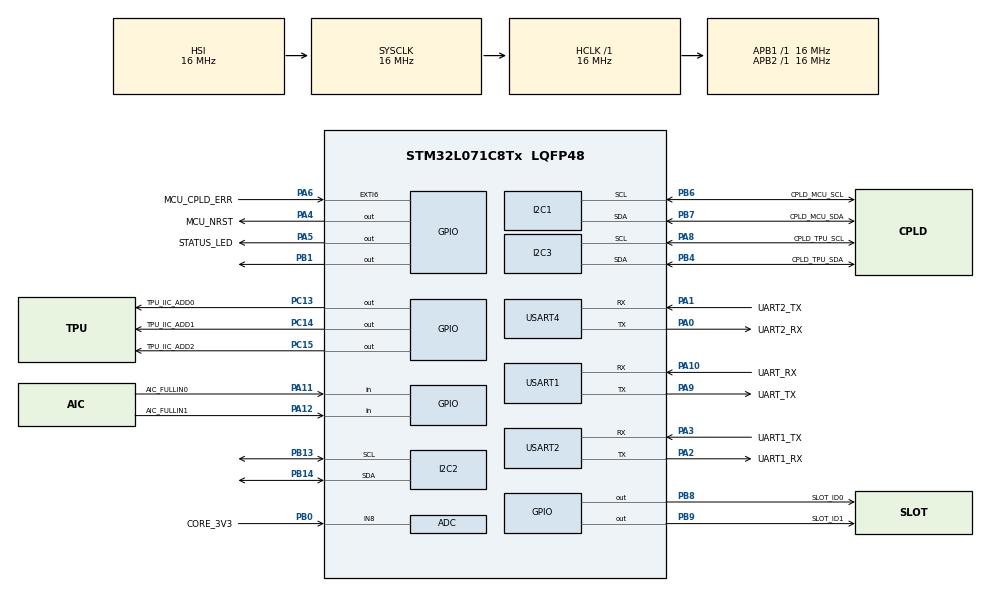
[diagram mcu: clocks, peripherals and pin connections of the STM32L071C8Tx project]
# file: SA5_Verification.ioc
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ADC.ContinuousConvMode=ENABLE
ADC.EOCSelection=ADC_EOC_SEQ_CONV
FREERTOS.BinarySemaphores01=uartTxSem,Dynamic,NULL
FREERTOS.Tasks01=ShellThread,0,128,runShell,Default,NULL,Dynamic,NULL,NULL;ExecThread,-3,128,runExec,Default,NULL,Dynamic,NULL,NULL
FREERTOS.Timers01=ledCtrlTimer,ledCtrlCallback,osTimerPeriodic,Default,NULL,Dynamic,NULL;timeoutTimer,timeoutCallback,osTimerOnce,Default,NULL,Dynamic,NULL
FREERTOS.configTOTAL_HEAP_SIZE=5120
FREERTOS.configUSE_TIMERS=1
I2C1.Speed=50
I2C1.Timing=0x00303DFB
I2C2.OwnAddress=0x34
I2C2.Timing=0x00303D5B
I2C3.OwnAddress=0
I2C3.Timing=0x00303D5B
Mcu.Family=STM32L0
Mcu.Name=STM32L071C8Tx
Mcu.Package=LQFP48
NVIC.ADC1_COMP_IRQn=true\:3\:0\:false\:false\:true\:true\:true\:true
NVIC.EXTI4_15_IRQn=true\:3\:0\:false\:false\:true\:true\:true\:true
NVIC.I2C1_IRQn=true\:3\:0\:false\:false\:true\:true\:true\:true
NVIC.I2C2_IRQn=true\:3\:0\:false\:false\:true\:true\:true\:true
NVIC.I2C3_IRQn=true\:3\:0\:false\:false\:true\:true\:true\:true
NVIC.TIM6_IRQn=true\:0\:0\:false\:false\:true\:false\:false\:true
NVIC.TimeBase=TIM6_IRQn
NVIC.TimeBaseIP=TIM6
NVIC.USART1_IRQn=true\:3\:0\:false\:false\:true\:true\:true\:true
NVIC.USART2_IRQn=true\:3\:0\:false\:false\:true\:true\:true\:true
NVIC.USART4_5_IRQn=true\:3\:0\:false\:false\:true\:true\:true\:true
PA0.GPIO_Label=UART2_RX
PA0.Mode=Asynchronous
PA0.Signal=USART4_TX
PA1.GPIO_Label=UART2_TX
PA1.Mode=Asynchronous
PA1.Signal=USART4_RX
PA10.GPIO_Label=UART_RX
PA10.Mode=Asynchronous
PA10.Signal=USART1_RX
PA11.GPIO_Label=AIC_FULLIN0
PA11.GPIO_PuPd=GPIO_PULLUP
PA11.Signal=GPIO_Input
PA12.GPIO_Label=AIC_FULLIN1
PA12.GPIO_PuPd=GPIO_PULLUP
PA12.Signal=GPIO_Input
PA13.Mode=Serial_Wire
PA13.Signal=SYS_SWDIO
PA14.Mode=Serial_Wire
PA14.Signal=SYS_SWCLK
PA2.GPIO_Label=UART1_RX
PA2.Mode=Asynchronous
PA2.Signal=USART2_TX
PA3.GPIO_Label=UART1_TX
PA3.Mode=Asynchronous
PA3.Signal=USART2_RX
PA4.GPIO_Label=MCU_NRST
PA4.PinState=GPIO_PIN_SET
PA4.Signal=GPIO_Output
PA5.GPIO_Label=STATUS_LED
PA5.Signal=GPIO_Output
PA6.GPIO_Label=MCU_CPLD_ERR
PA6.Signal=GPXTI6
PA8.GPIO_Label=CPLD_TPU_SCL
PA8.Mode=I2C
PA8.Signal=I2C3_SCL
PA9.GPIO_Label=UART_TX
PA9.Mode=Asynchronous
PA9.Signal=USART1_TX
PB0.GPIO_Label=CORE_3V3
PB0.Mode=IN8
PB0.Signal=ADC_IN8
PB1.PinState=GPIO_PIN_SET
PB1.Signal=GPIO_Output
PB13.Mode=I2C
PB13.Signal=I2C2_SCL
PB14.Mode=I2C
PB14.Signal=I2C2_SDA
PB4.GPIO_Label=CPLD_TPU_SDA
PB4.Mode=I2C
PB4.Signal=I2C3_SDA
PB6.GPIO_Label=CPLD_MCU_SCL
PB6.Mode=I2C
PB6.Signal=I2C1_SCL
PB7.GPIO_Label=CPLD_MCU_SDA
PB7.Mode=I2C
PB7.Signal=I2C1_SDA
PB8.GPIO_Label=SLOT_ID0
PB8.PinState=GPIO_PIN_SET
PB8.Signal=GPIO_Output
PB9.GPIO_Label=SLOT_ID1
PB9.PinState=GPIO_PIN_SET
PB9.Signal=GPIO_Output
PC13.GPIO_Label=TPU_IIC_ADD0
PC13.PinState=GPIO_PIN_SET
PC13.Signal=GPIO_Output
PC14-OSC32_IN.GPIO_Label=TPU_IIC_ADD1
PC14-OSC32_IN.Signal=GPIO_Output
PC15-OSC32_OUT.GPIO_Label=TPU_IIC_ADD2
PC15-OSC32_OUT.PinState=GPIO_PIN_SET
PC15-OSC32_OUT.Signal=GPIO_Output
ProjectManager.HeapSize=0x200
ProjectManager.StackSize=0x400
ProjectManager.TargetToolchain=TrueSTUDIO
RCC.AHBFreq_Value=16000000
RCC.APB1Freq_Value=16000000
RCC.APB1TimFreq_Value=16000000
RCC.APB2Freq_Value=16000000
RCC.APB2TimFreq_Value=16000000
RCC.HCLKFreq_Value=16000000
RCC.HSE_VALUE=8000000
RCC.HSI16_VALUE=16000000
RCC.HSI_VALUE=16000000
RCC.LSE_VALUE=32768
RCC.MSI_VALUE=2097000
RCC.SYSCLKFreq_VALUE=16000000
RCC.SYSCLKSource=RCC_SYSCLKSOURCE_HSI
RCC.VCOOutputFreq_Value=48000000
USART1.VirtualMode-Asynchronous=VM_ASYNC
USART2.VirtualMode-Asynchronous=VM_ASYNC
USART4.VirtualMode-Asynchronous=VM_ASYNC
VP_FREERTOS_VS_CMSIS_V1.Mode=CMSIS_V1
VP_SYS_VS_tim6.Mode=TIM6
board=custom

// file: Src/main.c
/* USER CODE BEGIN Header */
/**
 ******************************************************************************
 * @file           : main.c
 * @brief          : Main program body
 ******************************************************************************
 * @attention
 *
 * <h2><center>&copy; Copyright (c) 2019 STMicroelectronics.
 * All rights reserved.</center></h2>
 *
 * This software component is licensed by ST under Ultimate Liberty license
 * SLA0044, the "License"; You may not use this file except in compliance with
 * the License. You may obtain a copy of the License at:
 *                             www.st.com/SLA0044
 *
 ******************************************************************************
 */
/* USER CODE END Header */

#include "main.h"
#include "cmsis_os.h"
#include "adc.h"
#include "i2c.h"
#include "usart.h"
#include "gpio.h"

/* USER CODE BEGIN Includes */
#include <stdio.h>
#include <string.h>
#include <stdarg.h>
/* USER CODE END Includes */

void SystemClock_Config(void);
void MX_FREERTOS_Init(void);

int main(void)
{

  /* MCU Configuration--------------------------------------------------------*/

  /* Reset of all peripherals, Initializes the Flash interface and the Systick. */
  HAL_Init();

  /* Configure the system clock */
  SystemClock_Config();

  /* Initialize all configured peripherals */
  MX_GPIO_Init();
  MX_ADC_Init();
  MX_I2C1_Init();
  MX_I2C2_Init();
  MX_I2C3_Init();
  MX_USART1_UART_Init();
  MX_USART2_UART_Init();
  MX_USART4_UART_Init();
  /* USER CODE BEGIN 2 */
//  int data = 0x01;
//  if (HAL_I2C_Mem_Write(&hi2c1, 0x17 << 1, 0x03, 1,
//		  &data, 1, 100) == HAL_OK)
//	  Info("mem  write ok");
//  HAL_Delay(100);
//  if (HAL_I2C_Mem_Read(&hi2c1, 0x17 << 1, 0x01, 1,
//  		  &data, 1, 100) == HAL_OK)
//  Info("mem read ok data is %d", data);
//  HAL_ADC_Start(&hadc);
//  HAL_ADC_PollForConversion(&hadc, 10);
//  int adValue = (int)HAL_ADC_GetValue(&hadc);
//  HAL_UART_Transmit(&huart1, &adValue, 1,0xFFFF);

  /* USER CODE END 2 */

  /* Call init function for freertos objects (in freertos.c) */
  MX_FREERTOS_Init();
  // exit test mode.let 1684 kernel power up
  HAL_GPIO_WritePin(GPIOC, TPU_IIC_ADD0_Pin, GPIO_PIN_RESET);
  HAL_GPIO_WritePin(GPIOC, TPU_IIC_ADD1_Pin, GPIO_PIN_SET);
  /* Start scheduler */
  osKernelStart();

  /* We should never get here as control is now taken by the scheduler */

  /* Infinite loop */
	while (1) {

	}
}

void SystemClock_Config(void)
{
  RCC_OscInitTypeDef RCC_OscInitStruct = {0};
  RCC_ClkInitTypeDef RCC_ClkInitStruct = {0};
  RCC_PeriphCLKInitTypeDef PeriphClkInit = {0};

  /** Configure the main internal regulator output voltage
  */
  __HAL_PWR_VOLTAGESCALING_CONFIG(PWR_REGULATOR_VOLTAGE_SCALE1);
  /** Initializes the CPU, AHB and APB busses clocks
  */
  RCC_OscInitStruct.OscillatorType = RCC_OSCILLATORTYPE_HSI;
  RCC_OscInitStruct.HSIState = RCC_HSI_ON;
  RCC_OscInitStruct.HSICalibrationValue = RCC_HSICALIBRATION_DEFAULT;
  RCC_OscInitStruct.PLL.PLLState = RCC_PLL_NONE;
  if (HAL_RCC_OscConfig(&RCC_OscInitStruct) != HAL_OK)
  {
    Error_Handler();
  }
  /** Initializes the CPU, AHB and APB busses clocks
  */
  RCC_ClkInitStruct.ClockType = RCC_CLOCKTYPE_HCLK|RCC_CLOCKTYPE_SYSCLK
                              |RCC_CLOCKTYPE_PCLK1|RCC_CLOCKTYPE_PCLK2;
  RCC_ClkInitStruct.SYSCLKSource = RCC_SYSCLKSOURCE_HSI;
  RCC_ClkInitStruct.AHBCLKDivider = RCC_SYSCLK_DIV1;
  RCC_ClkInitStruct.APB1CLKDivider = RCC_HCLK_DIV1;
  RCC_ClkInitStruct.APB2CLKDivider = RCC_HCLK_DIV1;

  if (HAL_RCC_ClockConfig(&RCC_ClkInitStruct, FLASH_LATENCY_0) != HAL_OK)
  {
    Error_Handler();
  }
  PeriphClkInit.PeriphClockSelection = RCC_PERIPHCLK_USART1|RCC_PERIPHCLK_USART2
                              |RCC_PERIPHCLK_I2C1|RCC_PERIPHCLK_I2C3;
  PeriphClkInit.Usart1ClockSelection = RCC_USART1CLKSOURCE_PCLK2;
  PeriphClkInit.Usart2ClockSelection = RCC_USART2CLKSOURCE_PCLK1;
  PeriphClkInit.I2c1ClockSelection = RCC_I2C1CLKSOURCE_PCLK1;
  PeriphClkInit.I2c3ClockSelection = RCC_I2C3CLKSOURCE_PCLK1;
  if (HAL_RCCEx_PeriphCLKConfig(&PeriphClkInit) != HAL_OK)
  {
    Error_Handler();
  }
}

/* USER CODE BEGIN 4 */
void Error(const char *fmt, ...) {
	char errorMsg[79] = { 0 };
	va_list args;
	va_start(args, fmt);
	vsprintf(errorMsg, fmt, args);
	va_end(args);
	HAL_UART_Transmit(&huart1, (uint8_t*) "\r\n", 2, 0xFFFF);
	HAL_UART_Transmit(&huart1, (uint8_t*) errorMsg, strlen(errorMsg), 0xFFFF);
	Error_Handler();
}
void Info(const char *fmt, ...) {
	char infoMsg[79] = { 0 };
	va_list args;
	va_start(args, fmt);
	vsprintf(infoMsg, fmt, args);
	va_end(args);
	HAL_UART_Transmit(&huart1, (uint8_t*) infoMsg, strlen(infoMsg), 0xFFFF);
	HAL_UART_Transmit(&huart1, (uint8_t*) "\r\n", 2, 0xFFFF);
}
/* USER CODE END 4 */

void HAL_TIM_PeriodElapsedCallback(TIM_HandleTypeDef *htim)
{
  if (htim->Instance == TIM6) {
    HAL_IncTick();
  }
}

void Error_Handler(void)
{
  /* USER CODE BEGIN Error_Handler_Debug */
	/* User can add his own implementation to report the HAL error return state */
	while (1) {
		HAL_GPIO_TogglePin(STATUS_LED_GPIO_Port, STATUS_LED_Pin);
		HAL_Delay(50);
	}
  /* USER CODE END Error_Handler_Debug */
}

/************************ (C) COPYRIGHT STMicroelectronics *****END OF FILE****/

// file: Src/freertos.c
/* USER CODE BEGIN Header */
/**
 ******************************************************************************
 * File Name          : freertos.c
 * Description        : Code for freertos applications
 ******************************************************************************
 * @attention
 *
 * <h2><center>&copy; Copyright (c) 2019 STMicroelectronics.
 * All rights reserved.</center></h2>
 *
 * This software component is licensed by ST under Ultimate Liberty license
 * SLA0044, the "License"; You may not use this file except in compliance with
 * the License. You may obtain a copy of the License at:
 *                             www.st.com/SLA0044
 *
 ******************************************************************************
 */
/* USER CODE END Header */

#include "FreeRTOS.h"
#include "task.h"
#include "main.h"
#include "cmsis_os.h"

/* USER CODE BEGIN Includes */
#include <stdio.h>
#include <string.h>
#include <stdarg.h>
#include "usart.h"
#include "uart_streaming.h"
#include "i2c.h"
#include "i2creg_slave.h"
#include "adc.h"
#include "FreeRTOS_CLI.h"
#include "freertos_cmd.h"
/* USER CODE END Includes */

/* USER CODE BEGIN PTD */

typedef enum signalFlag_t {
	SIGNAL_ERROR = 0x01,
	SIGNAL_KERNEL
} signalFlag;
/* USER CODE END PTD */

/* USER CODE BEGIN PD */
#define cmdMAX_INPUT_SIZE		64
#define cmdASCII_DEL	0x7F
#define cmdASCII_ETX	0x03

const uint8_t VERSION = 0x00;

static const char * const pcWelcomeMessage =
		"\fSA5 Test Board Shell\r\nType help to view all commands\r\n";
static const char * const pcPrompt = ">>> ";
static const char * const pcNewLine = "\r\n";
static const char * const pcBackSpace = "\b \b";
/* USER CODE END PD */

/* USER CODE BEGIN Variables */
#define MAX_INPUT_BUF_SIZE 32
char cRxBuffer[MAX_INPUT_BUF_SIZE] = { 0 };
volatile testStage tStage = STAGE_IDLE;
volatile uint8_t cmdRunning = 0;
volatile uint8_t uartBuf[6] = {0};
uint8_t reg[MAX_REG_SIZE] = { 0xAA };
uint8_t board_type = 0;

uint8_t ucInputIndex = 0;
char cInputString[cmdMAX_INPUT_SIZE];

/* USER CODE END Variables */
osThreadId ShellThreadHandle;
osThreadId ExecThreadHandle;
osTimerId ledCtrlTimerHandle;
osTimerId timeoutTimerHandle;
osSemaphoreId uartTxSemHandle;

void runShell(void const * argument);
void runExec(void const * argument);
void ledCtrlCallback(void const * argument);
void timeoutCallback(void const * argument);

void MX_FREERTOS_Init(void); /* (MISRA C 2004 rule 8.1) */

void MX_FREERTOS_Init(void) {
  /* USER CODE BEGIN Init */
#if FACTORY_TEST_FLAG
#else
    HAL_GPIO_WritePin(GPIOC,
		      TPU_IIC_ADD0_Pin | TPU_IIC_ADD1_Pin |TPU_IIC_ADD2_Pin,
		      GPIO_PIN_RESET);
    HAL_GPIO_WritePin(GPIOB, SLOT_ID0_Pin | SLOT_ID1_Pin, GPIO_PIN_RESET);
#endif
	// Core board detect
	uint8_t data[1];
	if ((HAL_GPIO_ReadPin(AIC_FULLIN1_GPIO_Port, AIC_FULLIN1_Pin)== GPIO_PIN_RESET)&&
		(HAL_GPIO_ReadPin(AIC_FULLIN0_GPIO_Port, AIC_FULLIN0_Pin)== GPIO_PIN_RESET)) {
		HAL_ADCEx_Calibration_Start(&hadc, ADC_SINGLE_ENDED);
		HAL_ADC_Start(&hadc);
		HAL_Delay(500);
		data[0] = 0x80;
		if (HAL_I2C_Mem_Write(&hi2c1, CORE_MCU_ADDR, MCU_LOCATION_IIC, 1, data, 1, 100)== HAL_OK){
			HAL_Delay(100);
			data[0] = 0x01;
			if(HAL_I2C_Mem_Write(&hi2c1, CORE_MCU_ADDR, MCU_RESET_IIC, 1, data, 1, 100)!= HAL_OK){
				Info("[initial] set core mcu i2c reset register failed");
			}
			Info("[initial] set core mcu i2c registers ok");
		}else{
			Info("[initial] set core mcu i2c location register failed");
		}
		HAL_Delay(100);
		HAL_ADC_PollForConversion(&hadc, 10);
		tStage = STAGE_FULLIN;
//		if (HAL_I2C_Mem_Write(&hi2c1, CORE_MCU_ADDR, MCU_LOCATION_IIC, 1, data, 1, 100)!= HAL_OK)
//			Error("[initial] set core poweron location error");
//		HAL_Delay(100);
//		data[0] = 0x01;
//		if (HAL_I2C_Mem_Write(&hi2c1, CORE_MCU_ADDR, MCU_RESET_IIC, 1, data, 1, 100)!= HAL_OK)
//			Error("[initial] poweron 1684 error");
//
//		HAL_Delay(100);
//		HAL_ADC_PollForConversion(&hadc, 10);
//		tStage = STAGE_FULLIN;
	}else{
		Info("[initial] Board NOT Found");
	}

	HAL_UART_Transmit(&huart1, (uint8_t *) pcWelcomeMessage,
			strlen(pcWelcomeMessage), 0xFFFF);

	// auto power-up detect
	if (tStage == STAGE_FULLIN) {
		HAL_Delay(200);
		*data = 0x00;
		if (HAL_I2C_Mem_Read(&hi2c1, CORE_MCU_ADDR, MCU_TYPE_IIC, 1, &board_type, 1, 100)== HAL_OK){
			Info("[initial] core mcu i2c register [%#x]=%#02x", MCU_TYPE_IIC, board_type);
			if ((board_type == 0x01)||(board_type == 0x0D)||(board_type == 0x30)) {
				tStage = STAGE_POWER;
				memset(reg, 0xAA, MAX_REG_SIZE);
				if (I2CReg_SlaveInit(&hi2c2, reg, MAX_REG_SIZE) != HAL_OK)
					Info("[initial] I2C Slave initial failed");
				HAL_Delay(200);
				Info("QA_PASS_INIT");
			}
		}

//		*data = 0x00;
//		if (HAL_I2C_Mem_Read(&hi2c1, CORE_MCU_ADDR, MCU_TYPE_IIC, 1, data, 1, 100)
//				!= HAL_OK)
//			Error("[initial] I2C read error");
//		Info("[initial] REG[0x00]=0x%02X", *data);
//		board_type = *data;
//		if ((board_type == 0x01)||(board_type == 0x0D)) {
//			tStage = STAGE_POWER;
//			memset(reg, 0xAA, MAX_REG_SIZE);
//			if (I2CReg_SlaveInit(&hi2c2, reg, MAX_REG_SIZE) != HAL_OK)
//				Info("[initial] I2C Slave initial failed");
//			HAL_Delay(200);
//			Info("QA_PASS_INIT");
//		} else {
//			Info("QA_FAIL_INIT");
//			tStage = STAGE_FULLIN;
//		}
	}else{
		Info("[initial] core mcu i2c read failed");
	}

	if(tStage != STAGE_POWER){
		Info("QA_FAIL_INIT");
	}
  /* USER CODE END Init */

  /* Create the semaphores(s) */
  /* definition and creation of uartTxSem */
  osSemaphoreDef(uartTxSem);
  uartTxSemHandle = osSemaphoreCreate(osSemaphore(uartTxSem), 1);

  /* Create the timer(s) */
  /* definition and creation of ledCtrlTimer */
  osTimerDef(ledCtrlTimer, ledCtrlCallback);
  ledCtrlTimerHandle = osTimerCreate(osTimer(ledCtrlTimer), osTimerPeriodic, NULL);

  /* definition and creation of timeoutTimer */
  osTimerDef(timeoutTimer, timeoutCallback);
  timeoutTimerHandle = osTimerCreate(osTimer(timeoutTimer), osTimerOnce, NULL);

  /* Create the thread(s) */
  /* definition and creation of ShellThread */
  osThreadDef(ShellThread, runShell, osPriorityNormal, 0, 128);
  ShellThreadHandle = osThreadCreate(osThread(ShellThread), NULL);

  /* definition and creation of ExecThread */
  osThreadDef(ExecThread, runExec, osPriorityIdle, 0, 128);
  ExecThreadHandle = osThreadCreate(osThread(ExecThread), NULL);

  /* USER CODE BEGIN RTOS_THREADS */

	//HAL_ADC_Start(&hadc);
	/* add threads, ... */
  /* USER CODE END RTOS_THREADS */

}

void runShell(void const * argument)
{

  /* USER CODE BEGIN runShell */
	osEvent evt;
	char *pcOutputString;
	BaseType_t xReturned;
	pcOutputString = FreeRTOS_CLIGetOutputBuffer();
//	HAL_UART_Transmit(&huart1, (uint8_t *) pcWelcomeMessage,
//			strlen(pcWelcomeMessage), 0xFFFF);
//	if (tStage == STAGE_IDLE)
//
//	else if (tStage == STAGE_FULLIN)
//
//	else if (tStage == STAGE_POWER)
//
	Shell_RegisterCommand();
	HAL_UART_Transmit(&huart1, (uint8_t *) pcPrompt, strlen(pcPrompt), 0xFFFF);
	//HAL_UART_Receive_IT(&huart2, (uint8_t *) cRxBuffer, 1);
	UARTStr_RxInit(&huart1, (uint8_t *) cRxBuffer, MAX_INPUT_BUF_SIZE);
	/* Infinite loop */
	for (;;) {
		//HAL_UART_Receive_IT(&huart1, (uint8_t *) cRxBuffer, 1);
		evt = osSignalWait(0x00, osWaitForever);
		osSemaphoreWait(uartTxSemHandle, osWaitForever);
		for (int i = 0; i < evt.value.signals; i++) {
			if (cRxBuffer[i] == 0x00) { // should not be here
				memset(cRxBuffer, 0x00, sizeof(cRxBuffer));
				break;
			}
			if (cRxBuffer[i] == '\r') {

				/* See if the command is empty, indicating that the last command
				 is to be executed again. */
				if (ucInputIndex == 0) {
					HAL_UART_Transmit(&huart1, (uint8_t *) pcNewLine,
							strlen(pcNewLine), 0xFFFF);
					HAL_UART_Transmit(&huart1, (uint8_t *) pcPrompt,
							strlen(pcPrompt), 0xFFFF);
					osSemaphoreRelease(uartTxSemHandle);
					break;
				}
				HAL_UART_Transmit(&huart1, (uint8_t *) pcNewLine,
						strlen(pcNewLine), 0xFFFF);
				/* Pass the received command to the command interpreter.  The
				 command interpreter is called repeatedly until it returns
				 pdFALSE	(indicating there is no more output) as it might
				 generate more than one string. */
				cmdRunning = 1;
				do {
					/* Get the next output string from the command interpreter. */
					xReturned = FreeRTOS_CLIProcessCommand(cInputString,
							pcOutputString, configCOMMAND_INT_MAX_OUTPUT_SIZE);

					/* Write the generated string to the UART. */
					HAL_UART_Transmit(&huart1, (uint8_t *) pcOutputString,
							strlen(pcOutputString), 0xFFFF);
					memset(pcOutputString, 0x00,
					configCOMMAND_INT_MAX_OUTPUT_SIZE);
				} while (xReturned != pdFALSE);
				cmdRunning = 0;

				/* All the strings generated by the input command have been
				 sent.  Clear the input string ready to receive the next command.
				 Remember the command that was just processed first in case it is
				 to be processed again. */
				ucInputIndex = 0;
				memset(cInputString, 0x00, cmdMAX_INPUT_SIZE);

				HAL_UART_Transmit(&huart1, (uint8_t *) pcPrompt,
						strlen(pcPrompt), 0xFFFF);
			} else if ((cRxBuffer[i] == '\b') || (*cRxBuffer == cmdASCII_DEL)) {
				/* Backspace was pressed.  Erase the last character in the
				 string - if any. */
				if (ucInputIndex > 0) {
					HAL_UART_Transmit(&huart1, (uint8_t *) pcBackSpace,
							strlen(pcBackSpace), 0xFFFF);
					ucInputIndex--;
					cInputString[ucInputIndex] = '\0';
				}
			} else if ((cRxBuffer[i] >= ' ') && (cRxBuffer[i] <= '~')) {
				/* A character was entered.  Add it to the string entered so
				 far.  When a \n is entered the complete	string will be
				 passed to the command interpreter. */
				if (ucInputIndex < cmdMAX_INPUT_SIZE) {
					HAL_UART_Transmit(&huart1, (uint8_t *) (cRxBuffer + i), 1,
							0xFFFF);
					cInputString[ucInputIndex] = cRxBuffer[i];
					ucInputIndex++;
				}
			} else if (cRxBuffer[i] == cmdASCII_ETX) {
				//Notify("%c",0x03);
			}
			osSemaphoreRelease(uartTxSemHandle);
		}
        //osSemaphoreRelease(uartTxSemHandle);
	}
  /* USER CODE END runShell */
}

void runExec(void const * argument)
{
  /* USER CODE BEGIN runExec */
	osEvent evt;
//	uint8_t data[2] = { 0 };
	/* Infinite loop */
	for (;;) {
		evt = osSignalWait(0x00, osWaitForever);
//		Notify("runexec h16 %d l16 %d\r\n",HIGH_U16(evt.value.signals),LOW_U16(evt.value.signals));
		if(0!=((HIGH_U16(evt.value.signals))&1)){
//			*data = 0x00;
//			*(data + 1) = 0x00;
//			if (HAL_I2C_Mem_Read(&hi2c1, CORE_MCU_ADDR, 0x06, 1, data, 2, 100)
//					== HAL_OK){
//				Notify("[notify] REG[0x06]=0x%02x\r\n[notify] REG[0x07]=0x%02x",
//									*data, *(data + 1));
//			}
		}
		if(0!=((HIGH_U16(evt.value.signals))&2)){
			if (LOW_U16(evt.value.signals) == 0x01)
				tStage = STAGE_KERNEL;
		}
	}
  /* USER CODE END runExec */
}

/* ledCtrlCallback function */
void ledCtrlCallback(void const * argument)
{
}

/* timeoutCallback function */
void timeoutCallback(void const * argument)
{
  /* USER CODE BEGIN timeoutCallback */
	//osSignalSet(ShellThreadHandle, 0x01);
  /* USER CODE END timeoutCallback */
}

/* USER CODE BEGIN Application */
//void HAL_UART_RxCpltCallback(UART_HandleTypeDef *huart) {
//	if (huart->Instance == huart1.Instance) {
//		osSignalSet(ShellThreadHandle, 0x01);
//	}
//}
void UARTStr_RxCpltCallback(uint8_t size) {
	osSignalSet(ShellThreadHandle, size);
}
void HAL_GPIO_EXTI_Callback(uint16_t GPIO_Pin) {
	if (GPIO_Pin == MCU_CPLD_ERR_Pin) {
		if (ExecThreadHandle != 0)
			osSignalSet(ExecThreadHandle, FORM_U16(SIGNAL_ERROR, 0x00));
		//Notify("[notify] MCU_CPLD_ERR Detected");
	}
//		Debug("full in detected");
//		if (osMessagePut(msgQueueHandle, FORM_U16(MSG_FULLIN, 0x01),
//				osWaitForever) != osOK) {
//			Error("msg put fail: full in detected");
//		}
//	} else if (GPIO_Pin == AIC_FULLIN1_Pin) {
//		Debug("remove detected");
//		if (osMessagePut(msgQueueHandle, FORM_U16(MSG_FULLIN, 0x00),
//				osWaitForever) != osOK) {
//			Error("msg put fail: remove detected");
//		}
//	}
}

void Notify(const char *fmt, ...) {
	osSemaphoreWait(uartTxSemHandle, osWaitForever);
	char notifyMsg[79] = { 0 };
	va_list args;
	va_start(args, fmt);
	vsprintf(notifyMsg, fmt, args);
	va_end(args);
	HAL_UART_Transmit(&huart1, (uint8_t*) "\r\n", 2, 0xFFFF);
	HAL_UART_Transmit(&huart1, (uint8_t*) notifyMsg, strlen(notifyMsg), 0xFFFF);
	if (cmdRunning == 0) {
		HAL_UART_Transmit(&huart1, (uint8_t *) pcPrompt, strlen(pcPrompt), 0xFFFF);
		if (ucInputIndex > 0)
			HAL_UART_Transmit(&huart1, (uint8_t *) cInputString,
					strlen(cInputString), 0xFFFF);
	}
	osSemaphoreRelease(uartTxSemHandle);
}

void I2CReg_SlaveTxCallback(I2C_HandleTypeDef *hi2c, uint8_t addr) {
	//Notify("Slave Tx triggered\r\n");
}

void I2CReg_SlaveRxCallback(I2C_HandleTypeDef *hi2c, uint8_t addr) {
	switch (addr) {
	case 0x00:
		osSignalSet(ExecThreadHandle, FORM_U16(SIGNAL_KERNEL, reg[0]));
	}
	//Notify("Slave Rx triggered %x\r\n",reg[0x00]);
}
/* USER CODE END Application */

/************************ (C) COPYRIGHT STMicroelectronics *****END OF FILE****/
